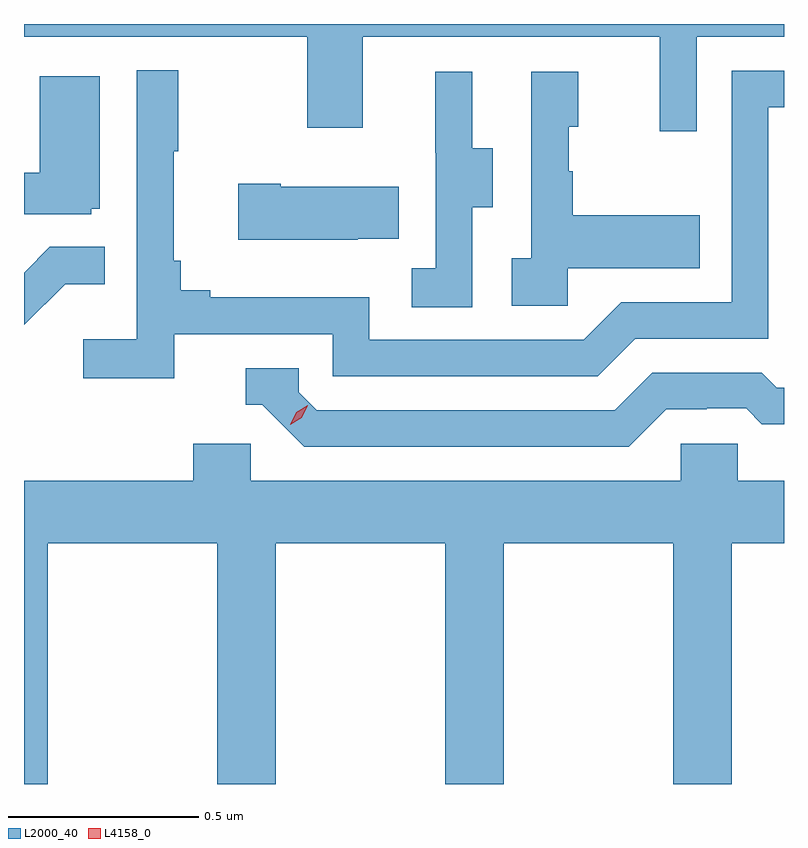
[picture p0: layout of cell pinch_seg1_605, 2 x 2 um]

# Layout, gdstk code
import gdstk
lib = gdstk.Library(unit=1e-6, precision=1e-09)
def P(c, l, *ps):  # polygons
    for p in ps: c.add(gdstk.Polygon(p, *l))
L2000_40 = (2000, 40)
L4158_0 = (4158, 0)

pinch_seg1_605 = lib.new_cell('pinch_seg1_605')
P(pinch_seg1_605, L2000_40, [(1067.949,505.112),(1068.179,505.112),(1068.179,505.146),(1066.179,505.146),(1066.179,505.112),(1066.924,505.112),(1066.924,504.873),(1067.071,504.873),(1067.071,505.112),(1067.852,505.112),(1067.852,504.864),(1067.949,504.864)],
  [(1066.574,504.33),(1066.992,504.33),(1066.992,504.219),(1067.689,504.219),(1067.788,504.318),(1068.138,504.318),(1068.138,504.927),(1068.179,504.927),(1068.179,505.023),(1068.042,505.023),(1068.042,504.414),(1067.751,504.414),(1067.652,504.315),(1067.088,504.315),(1067.088,504.427),(1066.669,504.427),(1066.669,504.446),(1066.592,504.446),(1066.592,504.523),(1066.573,504.523),(1066.573,504.811),(1066.585,504.811),(1066.585,505.024),(1066.476,505.024),(1066.476,504.316),(1066.335,504.316),(1066.335,504.214),(1066.574,504.214)],
  [(1067.61,504.503),(1067.957,504.503),(1067.957,504.643),(1067.623,504.643),(1067.623,504.758),(1067.613,504.758),(1067.613,504.876),(1067.638,504.876),(1067.638,505.021),(1067.514,505.021),(1067.514,504.53),(1067.463,504.53),(1067.463,504.405),(1067.61,504.405)],
  [(1067.358,504.664),(1067.413,504.664),(1067.413,504.819),(1067.359,504.819),(1067.359,505.021),(1067.261,505.021),(1067.261,504.807),(1067.262,504.807),(1067.262,504.503),(1067.199,504.503),(1067.199,504.4),(1067.358,504.4)],
  [(1066.356,504.66),(1066.378,504.66),(1066.378,505.009),(1066.22,505.009),(1066.22,504.754),(1066.179,504.754),(1066.179,504.645),(1066.356,504.645)],
  [(1067.057,504.581),(1067.165,504.581),(1067.165,504.718),(1066.855,504.718),(1066.855,504.726),(1066.743,504.726),(1066.743,504.578),(1067.057,504.578)],
  [(1066.287,504.461),(1066.391,504.461),(1066.391,504.56),(1066.247,504.56),(1066.179,504.492),(1066.179,504.354),(1066.18,504.354)],
  [(1067.869,504.132),(1067.976,504.132),(1067.976,504.135),(1068.079,504.135),(1068.121,504.093),(1068.179,504.093),(1068.179,504.189),(1068.16,504.189),(1068.121,504.228),(1067.832,504.228),(1067.733,504.129),(1066.95,504.129),(1066.902,504.177),(1066.902,504.24),(1066.763,504.24),(1066.763,504.144),(1066.806,504.144),(1066.917,504.033),(1067.77,504.033)],
  [(1066.242,503.78),(1066.687,503.78),(1066.687,503.146),(1066.842,503.146),(1066.842,503.78),(1067.287,503.78),(1067.287,503.146),(1067.442,503.146),(1067.442,503.78),(1067.887,503.78),(1067.887,503.146),(1068.042,503.146),(1068.042,503.78),(1068.179,503.78),(1068.179,503.944),(1068.057,503.944),(1068.057,504.042),(1067.907,504.042),(1067.907,503.944),(1066.776,503.944),(1066.776,504.042),(1066.625,504.042),(1066.625,503.944),(1066.179,503.944),(1066.179,503.146),(1066.242,503.146)])
P(pinch_seg1_605, L4158_0, [(1066.879,504.091),(1066.879,504.091),(1066.895,504.124),(1066.926,504.143),(1066.926,504.143),(1066.926,504.142),(1066.91,504.11),(1066.879,504.091)])

lib.write_gds('pinch_seg1_605.gds')
